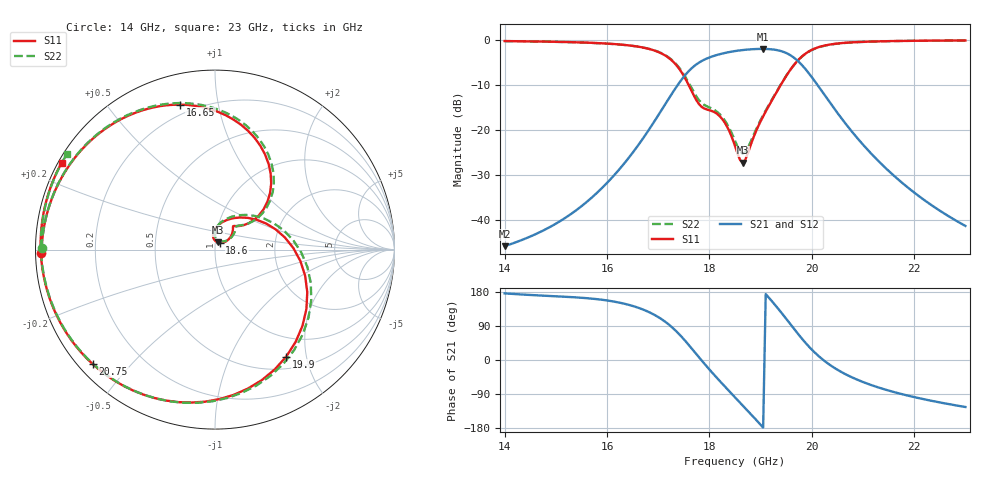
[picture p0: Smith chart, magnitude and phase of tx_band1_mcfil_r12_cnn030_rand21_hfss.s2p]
! Touchstone file exported from HFSS 3D Layout Design 2026.1.0
!  File:  D:/Work/SIM/ADS_AUTO_SIM/projects/RFSOC_RF/TX_Fillter.aedt
!  Generated:  11:55:51 PM Aug 30, 2026
!  Design:  TX_BAND1_MCFIL_R12_CNN030
!  Project:  TX_Fillter
# GHz S MA R 50.000000
! Terminal data exported
! Port[1] = Port1
! Port[2] = Port2
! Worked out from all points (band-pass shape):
!   181 points, 14 GHz to 23 GHz, reference 50 ohm
!   highest |S21| = -2.03 dB at 19.05 GHz (marker M1); lowest = -45.9 dB at 14 GHz (marker M2)
!   |S21| within 3 dB of the highest: 17.8 GHz to 19.76 GHz (1.954 GHz wide, 10.4 % of centre)
!   lowest |S11| = -27.3 dB at 18.65 GHz (marker M3), VSWR 1.09, Z = 51.3 + j4.16 ohm
!   |S11| at or under -10 dB: 17.59 GHz to 19.4 GHz (1.804 GHz wide, 9.75 % of centre)
!   |S22| runs from -25.3 to -0.2 dB; largest |S21 - S12| = 3.1e-14
!   S11 on the Smith chart (normalised r, x): 14 GHz: 0.02, -0.01; 16.65 GHz: 0.15, +0.78; 18.6 GHz: 1.05, +0.08; 19.9 GHz: 0.68, -1.66; 20.75 GHz: 0.04, -0.40; 23 GHz: 0.01, +0.26
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14  0.9671 -179.0  0.005095 175.8  0.005095 175.8  0.966 179.4
15.5  0.9335 146.6  0.01414 164.3  0.01414 164.3  0.9319 144.3
16.65  0.8303 103.4  0.07259 136.0  0.07259 136.0  0.8308 100.9
17  0.7319 81.9  0.1444 113.4  0.1444 113.4  0.7355 79.8
17.3  0.5642 58.1  0.2687 82.7  0.2687 82.7  0.5736 56.7
17.55  0.3523 39.7  0.4195 47.2  0.4195 47.2  0.3696 39.1
17.95  0.168 51.6  0.619 -17.3  0.619 -17.3  0.1825 46.6
18.25  0.1317 43.2  0.7022 -62.4  0.7022 -62.4  0.1388 40.2
18.5  0.06625 38.7  0.7488 -98.5  0.7488 -98.5  0.07558 39.2
18.6  0.04605 55.0  0.7627 -112.8  0.7627 -112.8  0.05728 53.2
18.65  0.043 70.1  0.7687 -120.0  0.7687 -120.0  0.05411 64.6
18.85  0.07916 98.4  0.7858 -148.8  0.7858 -148.8  0.08438 91.5
19.05  0.1412 81.2  0.7912 -178.4  0.7912 -178.4  0.1451 80.6
19.25  0.2272 52.1  0.7786 150.6  0.7786 150.6  0.2312 55.8
19.5  0.3955 9.8  0.7128 108.8  0.7128 108.8  0.3976 15.6
19.7  0.5661 -24.7  0.6004 74.2  0.6004 74.2  0.5652 -19.2
19.9  0.7161 -56.3  0.4548 41.8  0.4548 41.8  0.713 -51.9
20  0.7723 -70.2  0.3841 27.4  0.3841 27.4  0.7687 -66.3
20.3  0.8741 -103.6  0.2215 -7.8  0.2215 -7.8  0.8706 -101.4
20.75  0.9331 -136.7  0.1007 -43.6  0.1007 -43.6  0.9309 -136.4
21.5  0.9653 -170.4  0.03497 -80.6  0.03497 -80.6  0.9645 -171.9
23  0.9821 150.4  0.008552 -124.0  0.008552 -124.0  0.9818 147.3
